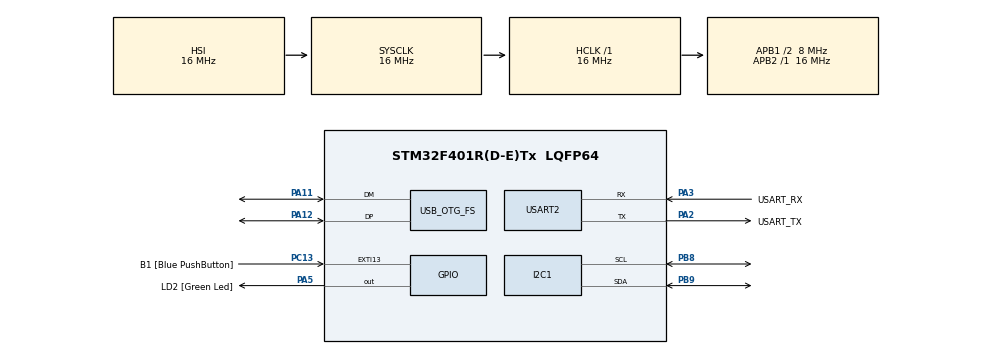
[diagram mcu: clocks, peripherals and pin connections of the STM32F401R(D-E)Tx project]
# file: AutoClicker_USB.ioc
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FREERTOS.Tasks01=defaultTask,24,128,StartDefaultTask,Default,NULL,Dynamic,NULL,NULL
FREERTOS.configUSE_NEWLIB_REENTRANT=1
I2C1.I2C_Mode=I2C_Fast
Mcu.Family=STM32F4
Mcu.Name=STM32F401R(D-E)Tx
Mcu.Package=LQFP64
NVIC.OTG_FS_IRQn=true\:5\:0\:false\:false\:true\:true\:false\:true\:true
NVIC.PriorityGroup=NVIC_PRIORITYGROUP_4
NVIC.TIM1_TRG_COM_TIM11_IRQn=true\:15\:0\:false\:false\:true\:false\:false\:true\:true
NVIC.TimeBase=TIM1_TRG_COM_TIM11_IRQn
NVIC.TimeBaseIP=TIM11
PA11.Mode=Device_Only
PA11.Signal=USB_OTG_FS_DM
PA12.Mode=Device_Only
PA12.Signal=USB_OTG_FS_DP
PA13.GPIO_Label=TMS
PA13.Mode=Trace_Asynchronous_SW
PA13.Signal=SYS_JTMS-SWDIO
PA14.GPIO_Label=TCK
PA14.Mode=Trace_Asynchronous_SW
PA14.Signal=SYS_JTCK-SWCLK
PA2.GPIO_Label=USART_TX
PA2.GPIO_Mode=GPIO_MODE_AF_PP
PA2.GPIO_PuPd=GPIO_NOPULL
PA2.GPIO_Speed=GPIO_SPEED_FREQ_LOW
PA2.Mode=Asynchronous
PA2.Signal=USART2_TX
PA3.GPIO_Label=USART_RX
PA3.GPIO_Mode=GPIO_MODE_AF_PP
PA3.GPIO_PuPd=GPIO_NOPULL
PA3.GPIO_Speed=GPIO_SPEED_FREQ_LOW
PA3.Mode=Asynchronous
PA3.Signal=USART2_RX
PA5.GPIO_Label=LD2 [Green Led]
PA5.GPIO_Mode=GPIO_MODE_OUTPUT_PP
PA5.GPIO_PuPd=GPIO_NOPULL
PA5.GPIO_Speed=GPIO_SPEED_FREQ_LOW
PA5.Signal=GPIO_Output
PB3.GPIO_Label=SWO
PB3.Mode=Trace_Asynchronous_SW
PB3.Signal=SYS_JTDO-SWO
PB8.Mode=I2C
PB8.Signal=I2C1_SCL
PB9.Mode=I2C
PB9.Signal=I2C1_SDA
PC13-ANTI_TAMP.GPIO_Label=B1 [Blue PushButton]
PC13-ANTI_TAMP.GPIO_ModeDefaultEXTI=GPIO_MODE_IT_FALLING
PC13-ANTI_TAMP.GPIO_PuPd=GPIO_NOPULL
PC13-ANTI_TAMP.Signal=GPXTI13
PC14-OSC32_IN.Mode=LSE-External-Oscillator
PC14-OSC32_IN.Signal=RCC_OSC32_IN
PC15-OSC32_OUT.Mode=LSE-External-Oscillator
PC15-OSC32_OUT.Signal=RCC_OSC32_OUT
PH0\ -\ OSC_IN.Mode=HSE-External-Clock-Source
PH0\ -\ OSC_IN.Signal=RCC_OSC_IN
PH1\ -\ OSC_OUT.Mode=HSE-External-Clock-Source
PH1\ -\ OSC_OUT.Signal=RCC_OSC_OUT
ProjectManager.HeapSize=0x200
ProjectManager.StackSize=0x400
ProjectManager.TargetToolchain=STM32CubeIDE
RCC.48MHZClocksFreq_Value=48000000
RCC.AHBFreq_Value=16000000
RCC.APB1CLKDivider=RCC_HCLK_DIV2
RCC.APB1Freq_Value=8000000
RCC.APB1TimFreq_Value=16000000
RCC.APB2Freq_Value=16000000
RCC.APB2TimFreq_Value=16000000
RCC.CortexFreq_Value=16000000
RCC.HCLKFreq_Value=16000000
RCC.HSE_VALUE=8000000
RCC.HSI_VALUE=16000000
RCC.PLLM=4
RCC.PLLN=72
RCC.PLLP=RCC_PLLP_DIV4
RCC.PLLQ=3
RCC.SYSCLKFreq_VALUE=16000000
RCC.VCOOutputFreq_Value=144000000
USART2.VirtualMode=VM_ASYNC
USB_DEVICE.CLASS_NAME_FS=HID
USB_DEVICE.VirtualMode-HID_FS=Hid
USB_DEVICE.VirtualModeFS=Hid_FS
USB_OTG_FS.VirtualMode=Device_Only
VP_FREERTOS_VS_CMSIS_V2.Mode=CMSIS_V2
VP_SYS_VS_tim11.Mode=TIM11
VP_USB_DEVICE_VS_USB_DEVICE_HID_FS.Mode=HID_FS
board=NUCLEO-F401RE

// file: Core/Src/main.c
/* USER CODE BEGIN Header */
/**
  ******************************************************************************
  * @file           : main.c
  * @brief          : Main program body
  ******************************************************************************
  * @attention
  *
  * Copyright (c) 2026 STMicroelectronics.
  * All rights reserved.
  *
  * This software is licensed under terms that can be found in the LICENSE file
  * in the root directory of this software component.
  * If no LICENSE file comes with this software, it is provided AS-IS.
  *
  ******************************************************************************
  */
/* USER CODE END Header */
#include "main.h"
#include "cmsis_os.h"
#include "i2c.h"
#include "usart.h"
#include "usb_device.h"
#include "gpio.h"

/* USER CODE BEGIN Includes */

#include "Clicker.h"
#include "Display_state_machine.h"

/* USER CODE END Includes */

void SystemClock_Config(void);
void MX_FREERTOS_Init(void);

/* USER CODE BEGIN 0 */

clicker_info curr_clicker;

DisplayState display = Display_is_rebooting;
uint8_t address;

/* USER CODE END 0 */

int main(void)
{

  /* MCU Configuration--------------------------------------------------------*/

  /* Reset of all peripherals, Initializes the Flash interface and the Systick. */
  HAL_Init();

  /* Configure the system clock */
  SystemClock_Config();

  /* Initialize all configured peripherals */
  MX_GPIO_Init();
  MX_USART2_UART_Init();
  MX_I2C1_Init();
  /* USER CODE BEGIN 2 */

  	  // Finding the address of the LED Display
  HAL_StatusTypeDef stat;
  for (int i = 0; i < 127; ++i)
  {
	  address = (i << 1);
	  stat = HAL_I2C_IsDeviceReady(&hi2c1, address, 1, 10);
	  if (stat == HAL_OK)
	  {
		  break;
	  }
  }

  	  // Call the Display function once
  	  // Initialize the display
  Control_Display(address, 1);

  Clicker_ctor(&curr_clicker, 0, 0, 8U, 0);

  /* USER CODE END 2 */

  /* Init scheduler */
  osKernelInitialize();  /* Call init function for freertos objects (in cmsis_os2.c) */
  MX_FREERTOS_Init();

  /* Start scheduler */
  osKernelStart();

  /* We should never get here as control is now taken by the scheduler */

  /* Infinite loop */
  while (1)
  {

  }
}

void SystemClock_Config(void)
{
  RCC_OscInitTypeDef RCC_OscInitStruct = {0};
  RCC_ClkInitTypeDef RCC_ClkInitStruct = {0};

  /** Configure the main internal regulator output voltage
  */
  __HAL_RCC_PWR_CLK_ENABLE();
  __HAL_PWR_VOLTAGESCALING_CONFIG(PWR_REGULATOR_VOLTAGE_SCALE2);

  /** Initializes the RCC Oscillators according to the specified parameters
  * in the RCC_OscInitTypeDef structure.
  */
  RCC_OscInitStruct.OscillatorType = RCC_OSCILLATORTYPE_HSI|RCC_OSCILLATORTYPE_HSE;
  RCC_OscInitStruct.HSEState = RCC_HSE_BYPASS;
  RCC_OscInitStruct.HSIState = RCC_HSI_ON;
  RCC_OscInitStruct.HSICalibrationValue = RCC_HSICALIBRATION_DEFAULT;
  RCC_OscInitStruct.PLL.PLLState = RCC_PLL_ON;
  RCC_OscInitStruct.PLL.PLLSource = RCC_PLLSOURCE_HSE;
  RCC_OscInitStruct.PLL.PLLM = 4;
  RCC_OscInitStruct.PLL.PLLN = 72;
  RCC_OscInitStruct.PLL.PLLP = RCC_PLLP_DIV4;
  RCC_OscInitStruct.PLL.PLLQ = 3;
  if (HAL_RCC_OscConfig(&RCC_OscInitStruct) != HAL_OK)
  {
    Error_Handler();
  }

  /** Initializes the CPU, AHB and APB buses clocks
  */
  RCC_ClkInitStruct.ClockType = RCC_CLOCKTYPE_HCLK|RCC_CLOCKTYPE_SYSCLK
                              |RCC_CLOCKTYPE_PCLK1|RCC_CLOCKTYPE_PCLK2;
  RCC_ClkInitStruct.SYSCLKSource = RCC_SYSCLKSOURCE_HSI;
  RCC_ClkInitStruct.AHBCLKDivider = RCC_SYSCLK_DIV1;
  RCC_ClkInitStruct.APB1CLKDivider = RCC_HCLK_DIV2;
  RCC_ClkInitStruct.APB2CLKDivider = RCC_HCLK_DIV1;

  if (HAL_RCC_ClockConfig(&RCC_ClkInitStruct, FLASH_LATENCY_0) != HAL_OK)
  {
    Error_Handler();
  }
}

void HAL_TIM_PeriodElapsedCallback(TIM_HandleTypeDef *htim)
{
  if (htim->Instance == TIM11)
  {
    HAL_IncTick();
  }
}

void Error_Handler(void)
{
  __disable_irq();
  while (1)
  {
  }
}

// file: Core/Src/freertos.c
/* USER CODE BEGIN Header */
/**
  ******************************************************************************
  * File Name          : freertos.c
  * Description        : Code for freertos applications
  ******************************************************************************
  * @attention
  *
  * Copyright (c) 2026 STMicroelectronics.
  * All rights reserved.
  *
  * This software is licensed under terms that can be found in the LICENSE file
  * in the root directory of this software component.
  * If no LICENSE file comes with this software, it is provided AS-IS.
  *
  ******************************************************************************
  */
/* USER CODE END Header */

#include "FreeRTOS.h"
#include "task.h"
#include "main.h"
#include "cmsis_os.h"

/* USER CODE BEGIN Includes */

#include "Clicker.h"
#include "usb_device.h"
#include "usbd_hid.h"
#include "i2c.h"
#include "ssd1306.h"
#include "Display_state_machine.h"

/* USER CODE END Includes */

/* USER CODE BEGIN Variables */

extern uint8_t address;
extern clicker_info curr_clicker;
extern USBD_HandleTypeDef hUsbDeviceFS;
extern DisplayState display;

osThreadId_t ButtonHandle;

const osThreadAttr_t ButtonTask_attributes = {
  .name = "buttonTask",
  .stack_size = 128 * 4,
  .priority = (osPriority_t) osPriorityNormal,
};

osThreadId_t DisplayHandle;

const osThreadAttr_t DisplayTask_attributes = {
  .name = "DisplayTask",
  .stack_size = 128 * 4,
  .priority = (osPriority_t) osPriorityLow,
};

uint8_t pressed_on_array[4] = {0x01, 0, 0, 0};
uint8_t pressed_off_array[4] = {0x00, 0, 0, 0};

/* USER CODE END Variables */
/* Definitions for defaultTask */
osThreadId_t defaultTaskHandle;
const osThreadAttr_t defaultTask_attributes = {
  .name = "defaultTask",
  .stack_size = 128 * 4,
  .priority = (osPriority_t) osPriorityNormal,
};

/* USER CODE BEGIN FunctionPrototypes */

void StartButtonTask(void *argument);

void StartDisplayTask(void *argument);

/* USER CODE END FunctionPrototypes */

void StartDefaultTask(void *argument);

extern void MX_USB_DEVICE_Init(void);
void MX_FREERTOS_Init(void); /* (MISRA C 2004 rule 8.1) */

void MX_FREERTOS_Init(void) {

  /* Create the thread(s) */
  /* creation of defaultTask */
  defaultTaskHandle = osThreadNew(StartDefaultTask, NULL, &defaultTask_attributes);

  /* USER CODE BEGIN RTOS_THREADS */
  ButtonHandle = osThreadNew(StartButtonTask, NULL, &ButtonTask_attributes);

  DisplayHandle = osThreadNew(StartDisplayTask, NULL, &DisplayTask_attributes);
  /* add threads, ... */
  /* USER CODE END RTOS_THREADS */

}

void StartDefaultTask(void *argument)
{
	/* init code for USB_DEVICE */
	MX_USB_DEVICE_Init();
	/* USER CODE BEGIN StartDefaultTask */
	/* Infinite loop */
	uint8_t button_pressed = 0;
	uint8_t long_click = 0;
	uint32_t init_time;
	for(;;)
	{
		if ((HAL_GPIO_ReadPin(GPIOC, GPIO_PIN_13) == GPIO_PIN_RESET))
		{
			if (button_pressed == 0)
			{
				long_click = 0;
				button_pressed = 1;
				init_time = osKernelGetTickCount();
			}
			else if (button_pressed == 1)
			{
				if (((osKernelGetTickCount() - init_time) > 1000) && long_click == 0)
				{
					if (display == Display_is_fine)
					{
						display = Display_is_configuring;
						curr_clicker.on_flag = 0;
						HAL_GPIO_WritePin(GPIOA, GPIO_PIN_5, GPIO_PIN_SET);
					}
					else if (display == Display_is_configuring)
					{
						display = Display_is_fine;
						curr_clicker.on_flag = curr_clicker.prev_state;
						HAL_GPIO_WritePin(GPIOA, GPIO_PIN_5, curr_clicker.prev_state);
					}
					long_click = 1;
				}
			}
		}
	else
	{
		if (button_pressed == 1)
		{
			if (display == Display_is_configuring && long_click == 0)
			{
				next_speed(&curr_clicker);
			}
			else if (display == Display_is_fine && long_click == 0)
			{
				curr_clicker.on_flag = !curr_clicker.on_flag;
				curr_clicker.prev_state = curr_clicker.on_flag;
				HAL_GPIO_TogglePin(GPIOA, GPIO_PIN_5);
			}
		}
		button_pressed = 0;
	}
	osDelay(20);
  }
  /* USER CODE END StartDefaultTask */
}

/* USER CODE BEGIN Application */
void StartButtonTask(void *argument)
{

  /* Infinite loop */
  for(;;)
  {
    if (curr_clicker.on_flag != 0) {

	    while (USBD_HID_SendReport(&hUsbDeviceFS, pressed_on_array, 4) == USBD_BUSY) {
	    	osDelay(1);
	    }
	    osDelay(curr_clicker.clicks_per_ms);

	    while (USBD_HID_SendReport(&hUsbDeviceFS, pressed_off_array, 4) == USBD_BUSY) {
	    	osDelay(1);
	    }
	    ++curr_clicker.clicks_num;
	    osDelay(curr_clicker.clicks_per_ms);
    } else {

	    osDelay(10);
	}
  }
}

void StartDisplayTask(void *argument)
{
	for(;;)
	{
		Control_Display(address, curr_clicker.on_flag);
		osDelay(100);
	}
}

/* USER CODE END Application */
